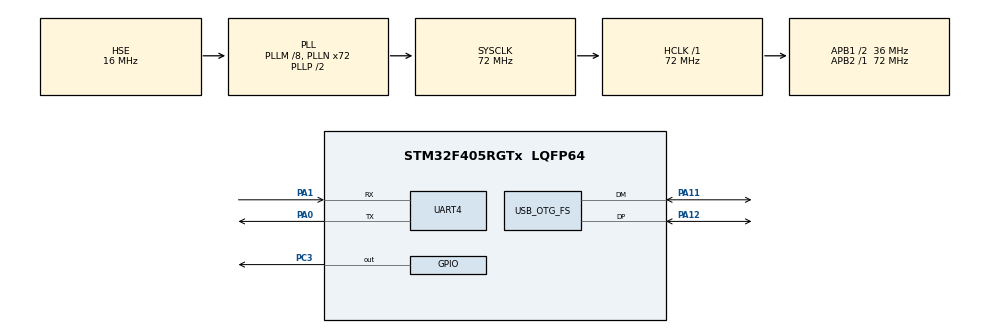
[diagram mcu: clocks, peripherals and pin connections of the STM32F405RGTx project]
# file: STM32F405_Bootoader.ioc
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MBEDTLS.MBEDTLS_RNG_IP=HW_RNG
Mcu.Family=STM32F4
Mcu.Name=STM32F405RGTx
Mcu.Package=LQFP64
NVIC.OTG_FS_IRQn=true\:0\:0\:false\:false\:true\:false\:true\:true
NVIC.PriorityGroup=NVIC_PRIORITYGROUP_4
NVIC.UART4_IRQn=true\:0\:0\:false\:false\:true\:true\:true\:true
PA0-WKUP.Mode=Asynchronous
PA0-WKUP.Signal=UART4_TX
PA1.Mode=Asynchronous
PA1.Signal=UART4_RX
PA11.Mode=Device_Only
PA11.Signal=USB_OTG_FS_DM
PA12.Mode=Device_Only
PA12.Signal=USB_OTG_FS_DP
PC3.Signal=GPIO_Output
PH0-OSC_IN.Mode=HSE-External-Oscillator
PH0-OSC_IN.Signal=RCC_OSC_IN
PH1-OSC_OUT.Mode=HSE-External-Oscillator
PH1-OSC_OUT.Signal=RCC_OSC_OUT
ProjectManager.HeapSize=0x200
ProjectManager.StackSize=0x400
ProjectManager.TargetToolchain=STM32CubeIDE
RCC.48MHZClocksFreq_Value=48000000
RCC.AHBFreq_Value=72000000
RCC.APB1CLKDivider=RCC_HCLK_DIV2
RCC.APB1Freq_Value=36000000
RCC.APB1TimFreq_Value=72000000
RCC.APB2Freq_Value=72000000
RCC.APB2TimFreq_Value=72000000
RCC.CortexFreq_Value=72000000
RCC.HCLKFreq_Value=72000000
RCC.HSE_VALUE=16000000
RCC.HSI_VALUE=16000000
RCC.LSE_VALUE=32768
RCC.PLLM=8
RCC.PLLN=72
RCC.PLLQ=3
RCC.SYSCLKFreq_VALUE=72000000
RCC.SYSCLKSource=RCC_SYSCLKSOURCE_PLLCLK
RCC.VCOOutputFreq_Value=144000000
UART4.VirtualMode=Asynchronous
USB_DEVICE.CLASS_NAME_FS=CDC
USB_DEVICE.VirtualMode-CDC_FS=Cdc
USB_DEVICE.VirtualModeFS=Cdc_FS
USB_OTG_FS.VirtualMode=Device_Only
VP_MBEDTLS_VS_MBEDTLS.Mode=Enabled
VP_RNG_VS_RNG.Mode=RNG_Activate
VP_USB_DEVICE_VS_USB_DEVICE_CDC_FS.Mode=CDC_FS
board=custom

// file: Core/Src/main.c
/* USER CODE BEGIN Header */
/**
 ******************************************************************************
 * @file           : main.c
 * @brief          : Main program body
 ******************************************************************************
 * @attention
 *
 * Copyright (c) 2024 STMicroelectronics.
 * All rights reserved.
 *
 * This software is licensed under terms that can be found in the LICENSE file
 * in the root directory of this software component.
 * If no LICENSE file comes with this software, it is provided AS-IS.
 *
 ******************************************************************************
 */
/* USER CODE END Header */
#include "main.h"
#include "mbedtls.h"
#include "usb_device.h"

/* USER CODE BEGIN Includes */

#include "cmd_handlers.h"
#include "flash_ops.h"
#include "crypto_ops.h"
#include "usb_comm.h"
#include "uart_comm.h"
#include "queue.h"

#include "usbd_cdc_if.h"
#include "mbedtls/aes.h"
#include "mbedtls/sha256.h"
#include "mbedtls/ssl.h"

#include "mbedtls/ecdh.h"
#include "mbedtls/ctr_drbg.h"
#include "mbedtls/entropy.h"
#include "mbedtls/md.h"
#include "mbedtls/hkdf.h"

/* USER CODE END Includes */

/* USER CODE BEGIN PD */

#define BOOTLOADER_FLAG_VALUE    0xDEADBEEF

/* USER CODE END PD */

RNG_HandleTypeDef hrng;

UART_HandleTypeDef huart4;

void SystemClock_Config(void);
static void MX_GPIO_Init(void);
static void MX_RNG_Init(void);
static void MX_UART4_Init(void);

int main(void)
{

  /* MCU Configuration--------------------------------------------------------*/

  /* Reset of all peripherals, Initializes the Flash interface and the Systick. */
  HAL_Init();

  /* Configure the system clock */
  SystemClock_Config();

  /* Initialize all configured peripherals */
  MX_GPIO_Init();
  MX_USB_DEVICE_Init();
  MX_MBEDTLS_Init();
  MX_RNG_Init();
  MX_UART4_Init();
  /* USER CODE BEGIN 2 */
	if (RTC->BKP0R == BOOTLOADER_FLAG_VALUE) {

	} else {
		HAL_Delay(500);
		validate_flash_area();
		if (flash_area_valid) {
			jump_to_application();
		}
	}

	// Initialize ECDH
	ecdh_init();
	if (ecdh_gen_key_pair(public_key, &public_key_len) != 0) {
		return 1;
	}

	init_queue(&usbQueue);
	init_queue(&uartQueue);
	uart_init();

	init_aes_context(&aes_packet_ctx, aes_packet_key, original_iv);
	init_aes_context(&aes_handshake_ctx, aes_handshake_key, aes_handshake_iv);
	memcpy(aes_packet_iv, original_iv, 16);
	uart_ack(NULL, 0);
	usb_ack(NULL, 0);

  /* USER CODE END 2 */

  /* Infinite loop */
	while (1) {

    /* USER CODE BEGIN 3 */
		if (usbQueue.num_elements > 0) {
			dequeue(&usbQueue, encryptedUsbBuf);

			if (handshake_done && secret_generated) {
				decrypt_data(&aes_session_ctx, session_iv, encryptedUsbBuf, 64,
						usbBuf);
			} else {
				decrypt_data(&aes_handshake_ctx, aes_handshake_iv,
						encryptedUsbBuf, 64, usbBuf);
			}

			handle_command(usbBuf, INTERFACE_USB);
		}

		if (uartQueue.num_elements > 0) {
			dequeue(&uartQueue, encryptedUartBuf);

			if (handshake_done && secret_generated) {
				decrypt_data(&aes_session_ctx, session_iv, encryptedUartBuf, 64,
						uartBuf);
			} else {
				decrypt_data(&aes_handshake_ctx, aes_handshake_iv,
						encryptedUartBuf, 64, uartBuf);
			}

			handle_command(uartBuf, INTERFACE_UART);
		}

		handle_crypto_handshake();
	}
  /* USER CODE END 3 */
}

void SystemClock_Config(void)
{
  RCC_OscInitTypeDef RCC_OscInitStruct = {0};
  RCC_ClkInitTypeDef RCC_ClkInitStruct = {0};

  /** Configure the main internal regulator output voltage
  */
  __HAL_RCC_PWR_CLK_ENABLE();
  __HAL_PWR_VOLTAGESCALING_CONFIG(PWR_REGULATOR_VOLTAGE_SCALE1);

  /** Initializes the RCC Oscillators according to the specified parameters
  * in the RCC_OscInitTypeDef structure.
  */
  RCC_OscInitStruct.OscillatorType = RCC_OSCILLATORTYPE_HSE;
  RCC_OscInitStruct.HSEState = RCC_HSE_ON;
  RCC_OscInitStruct.PLL.PLLState = RCC_PLL_ON;
  RCC_OscInitStruct.PLL.PLLSource = RCC_PLLSOURCE_HSE;
  RCC_OscInitStruct.PLL.PLLM = 8;
  RCC_OscInitStruct.PLL.PLLN = 72;
  RCC_OscInitStruct.PLL.PLLP = RCC_PLLP_DIV2;
  RCC_OscInitStruct.PLL.PLLQ = 3;
  if (HAL_RCC_OscConfig(&RCC_OscInitStruct) != HAL_OK)
  {
    Error_Handler();
  }

  /** Initializes the CPU, AHB and APB buses clocks
  */
  RCC_ClkInitStruct.ClockType = RCC_CLOCKTYPE_HCLK|RCC_CLOCKTYPE_SYSCLK
                              |RCC_CLOCKTYPE_PCLK1|RCC_CLOCKTYPE_PCLK2;
  RCC_ClkInitStruct.SYSCLKSource = RCC_SYSCLKSOURCE_PLLCLK;
  RCC_ClkInitStruct.AHBCLKDivider = RCC_SYSCLK_DIV1;
  RCC_ClkInitStruct.APB1CLKDivider = RCC_HCLK_DIV2;
  RCC_ClkInitStruct.APB2CLKDivider = RCC_HCLK_DIV1;

  if (HAL_RCC_ClockConfig(&RCC_ClkInitStruct, FLASH_LATENCY_2) != HAL_OK)
  {
    Error_Handler();
  }
}

static void MX_RNG_Init(void)
{

  hrng.Instance = RNG;
  if (HAL_RNG_Init(&hrng) != HAL_OK)
  {
    Error_Handler();
  }

}

static void MX_UART4_Init(void)
{

  huart4.Instance = UART4;
  huart4.Init.BaudRate = 115200;
  huart4.Init.WordLength = UART_WORDLENGTH_8B;
  huart4.Init.StopBits = UART_STOPBITS_1;
  huart4.Init.Parity = UART_PARITY_NONE;
  huart4.Init.Mode = UART_MODE_TX_RX;
  huart4.Init.HwFlowCtl = UART_HWCONTROL_NONE;
  huart4.Init.OverSampling = UART_OVERSAMPLING_16;
  if (HAL_UART_Init(&huart4) != HAL_OK)
  {
    Error_Handler();
  }

}

static void MX_GPIO_Init(void)
{
  GPIO_InitTypeDef GPIO_InitStruct = {0};

  /* GPIO Ports Clock Enable */
  __HAL_RCC_GPIOH_CLK_ENABLE();
  __HAL_RCC_GPIOC_CLK_ENABLE();
  __HAL_RCC_GPIOA_CLK_ENABLE();

  /*Configure GPIO pin Output Level */
  HAL_GPIO_WritePin(GPIOC, GPIO_PIN_3, GPIO_PIN_RESET);

  /*Configure GPIO pin : PC3 */
  GPIO_InitStruct.Pin = GPIO_PIN_3;
  GPIO_InitStruct.Mode = GPIO_MODE_OUTPUT_PP;
  GPIO_InitStruct.Pull = GPIO_NOPULL;  GPIO_InitStruct.Speed = GPIO_SPEED_FREQ_LOW;
  HAL_GPIO_Init(GPIOC, &GPIO_InitStruct);

}

/* USER CODE BEGIN 4 */
//void HAL_UART_RxCpltCallback(UART_HandleTypeDef *huart) {
//
//	enqueue(&uartQueue, uartBuffer);
//	HAL_UART_Receive_IT(huart, uartBuffer, 64);
//}
/* USER CODE END 4 */

void Error_Handler(void)
{
	__disable_irq();
	while (1) {
	}
}
